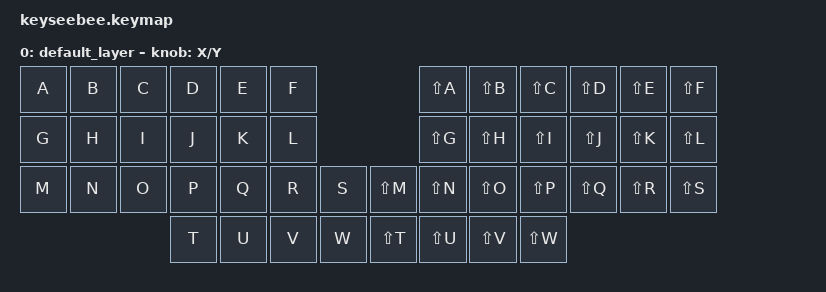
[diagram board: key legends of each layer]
/*
 * Copyright (c) 2020 The ZMK Contributors
 *
 * SPDX-License-Identifier: MIT
 */

#undef ZMK_BEHAVIORS_KEEP_ALL

#include <behaviors.dtsi>
#include <dt-bindings/zmk/keys.h>

/ {
    keymap {
        compatible = "zmk,keymap";

        default_layer {
            bindings = <
                &kp A  &kp B  &kp C  &kp D  &kp E  &kp F                       &kp LS(A)  &kp LS(B)  &kp LS(C)  &kp LS(D)  &kp LS(E)  &kp LS(F)
                &kp G  &kp H  &kp I  &kp J  &kp K  &kp L                       &kp LS(G)  &kp LS(H)  &kp LS(I)  &kp LS(J)  &kp LS(K)  &kp LS(L)
                &kp M  &kp N  &kp O  &kp P  &kp Q  &kp R  &kp S     &kp LS(M)  &kp LS(N)  &kp LS(O)  &kp LS(P)  &kp LS(Q)  &kp LS(R)  &kp LS(S)
                                     &kp T  &kp U  &kp V  &kp W     &kp LS(T)  &kp LS(U)  &kp LS(V)  &kp LS(W)
            >;
            sensor-bindings = <&inc_dec_kp X Y>;
        };
    };
};

